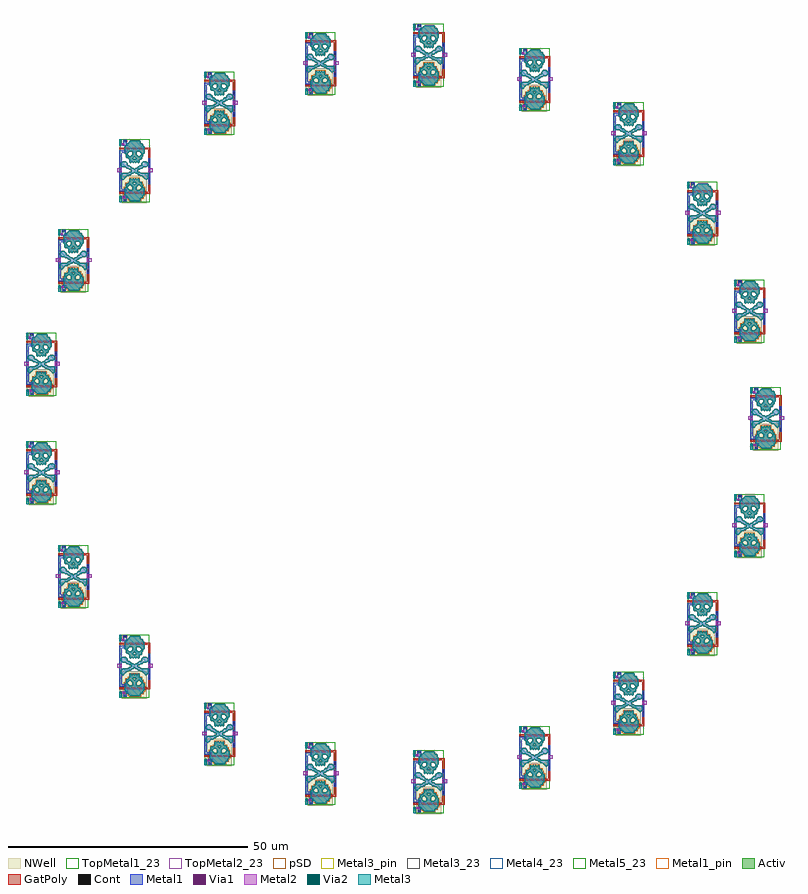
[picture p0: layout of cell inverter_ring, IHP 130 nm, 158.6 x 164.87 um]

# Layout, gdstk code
import gdstk
lib = gdstk.Library(unit=1e-6, precision=1e-09)
def R(c, l, rs):  # rectangles x0, y0, x1, y1
    for r in rs: c.add(gdstk.rectangle(r[:2], r[2:], *l))
def A(c, l, x, y, w, h, nx, ny, dx, dy):  # array of equal rectangles
    R(c, l, [(x+i*dx, y+j*dy, x+i*dx+w, y+j*dy+h) for i in range(nx) for j in range(ny)])
Activ = (1, 0)
GatPoly = (5, 0)
Cont = (6, 0)
Metal1 = (8, 0)
Metal1_pin = (8, 2)
Metal2 = (10, 0)
pSD = (14, 0)
Via1 = (19, 0)
Via2 = (29, 0)
Metal3 = (30, 0)
Metal3_pin = (30, 2)
Metal3_23 = (30, 23)
NWell = (31, 0)
Metal4_23 = (50, 23)
Metal5_23 = (67, 23)
TopMetal1_23 = (126, 23)
TopMetal2_23 = (134, 23)

skullfet_inverter = lib.new_cell('skullfet_inverter')
A(skullfet_inverter, Activ, -1.045, -1.78, 0.27, 0.27, 4, 2, 0.54, 3.51)
R(skullfet_inverter, Activ, [(-2.425,-6.3,-1.725,-5.85), (-1.045,-6.1,1.115,-5.83), (-1.315,-5.83,1.115,-5.56), (-1.855,-5.56,1.655,-5.02), (-2.125,-5.02,1.925,-3.94), (-2.125,-3.94,-1.315,-3.67), (-0.505,-3.94,0.305,-3.13), (1.115,-3.94,1.925,-3.67), (-2.125,-3.67,-1.585,-3.4), (1.385,-3.67,1.925,-3.4), (-1.855,-3.4,-1.585,-3.13), (1.385,-3.4,1.655,-3.13), (-1.855,-3.13,-1.315,-2.86), (-0.775,-3.13,0.575,-2.86), (1.115,-3.13,1.655,-2.86), (-1.855,-2.86,-0.235,-2.59), (0.035,-2.86,1.385,-2.59), (-1.315,-2.59,-0.505,-2.32), (0.305,-2.59,1.385,-2.32), (-1.045,-2.32,0.845,-1.78), (-1.045,2,0.845,2.54), (-1.315,2.54,-0.505,2.81), (0.305,2.54,1.385,2.81), (-1.855,2.81,-0.235,3.08), (0.035,2.81,1.385,3.08), (-1.855,3.08,-1.315,3.35), (-0.775,3.08,0.575,3.35), (1.115,3.08,1.655,3.35), (-1.855,3.35,-1.585,3.62), (-0.505,3.35,0.305,4.16), (1.385,3.35,1.655,3.62), (-2.125,3.62,-1.585,3.89), (1.385,3.62,1.925,3.89), (-2.125,3.89,-1.315,4.16), (1.115,3.89,1.925,4.16), (-2.125,4.16,1.925,5.24), (-1.855,5.24,1.655,5.78), (-1.315,5.78,1.115,6.05), (-2.475,6.05,-1.675,6.55), (-1.045,6.05,1.115,6.32)])
R(skullfet_inverter, GatPoly, [(-3.275,-4.7,3.225,-4.3), (2.725,-4.3,3.225,4.56), (-3.275,4.56,3.225,4.96)])
R(skullfet_inverter, Cont, [(-2.155,-6.155,-1.995,-5.995), (-1.755,-5.43,-1.595,-5.27), (-2.005,-4.03,-1.845,-3.87), (2.895,-2.4,3.055,-2.24), (2.895,-2.06,3.055,-1.9), (2.895,2,3.055,2.16), (2.895,2.34,3.055,2.5), (-2.055,4.07,-1.895,4.23), (-1.755,5.47,-1.595,5.63), (-2.325,6.22,-2.165,6.38), (-1.985,6.22,-1.825,6.38)])
R(skullfet_inverter, Metal1, [(-2.425,-6.3,-1.725,-5.6), (-2.425,-5.6,-1.475,-5.1), (-3.275,-4.2,-1.675,-3.7), (-3.275,-3.7,-2.775,3.9), (2.725,-2.7,3.225,2.7), (-3.275,3.9,-1.775,4.4), (-2.675,5.3,-1.475,5.8), (-2.475,5.8,-1.675,6.55)])
R(skullfet_inverter, Metal1_pin, [(-3.275,-0.2,-2.775,0.6), (2.725,-0.2,3.225,0.6)])
A(skullfet_inverter, Metal2, -1.045, -1.78, 0.27, 0.27, 4, 2, 0.54, 3.51)
R(skullfet_inverter, Metal2, [(-1.045,-6.1,1.115,-5.83), (-1.315,-5.83,1.115,-5.56), (-3.275,-5.75,-2.775,-5.6), (-3.275,-5.6,-2.065,-5.26), (-1.855,-5.56,1.655,-5.02), (-2.125,-5.02,1.925,-3.94), (-2.125,-3.94,-1.315,-3.67), (-0.505,-3.94,0.305,-3.13), (1.115,-3.94,1.925,-3.67), (-2.125,-3.67,-1.585,-3.4), (1.385,-3.67,1.925,-3.4), (-1.855,-3.4,-1.585,-3.13), (1.385,-3.4,1.655,-3.13), (-1.855,-3.13,-1.315,-2.86), (-0.775,-3.13,0.575,-2.86), (1.115,-3.13,1.655,-2.86), (-1.855,-2.86,-0.235,-2.59), (0.035,-2.86,1.385,-2.59), (-1.315,-2.59,-0.505,-2.32), (0.305,-2.59,1.385,-2.32), (-1.045,-2.32,0.845,-1.78), (-2.665,-1.78,-2.395,-1.51), (2.195,-1.78,2.465,-1.51), (-2.935,-1.51,-2.125,-1.24), (1.925,-1.51,2.735,-1.24), (-2.935,-1.24,-1.855,-0.97), (1.655,-1.24,2.735,-0.97), (-2.935,-0.97,-1.315,-0.7), (1.115,-0.97,2.735,-0.7), (-2.665,-0.7,-0.775,-0.43), (0.575,-0.7,2.735,-0.43), (-1.315,-0.43,-0.235,-0.16), (0.035,-0.43,1.115,-0.16), (-3.725,-0.205,-2.775,0.6), (2.725,-0.2,3.725,0.6), (-0.775,-0.16,0.575,0.38), (-1.315,0.38,-0.235,0.65), (0.035,0.38,1.115,0.65), (-1.855,0.65,-0.775,0.92), (0.575,0.65,1.655,0.92), (-2.665,0.92,-1.045,1.19), (0.845,0.92,2.465,1.19), (-2.935,1.19,-1.585,1.73), (1.385,1.19,2.735,1.73), (-2.665,1.73,-1.855,2), (1.655,1.73,2.465,2), (-1.045,2,0.845,2.54), (-1.315,2.54,-0.505,2.81), (0.305,2.54,1.385,2.81), (-1.855,2.81,-0.235,3.08), (0.035,2.81,1.385,3.08), (-1.855,3.08,-1.315,3.35), (-0.775,3.08,0.575,3.35), (1.115,3.08,1.655,3.35), (-1.855,3.35,-1.585,3.62), (-0.505,3.35,0.305,4.16), (1.385,3.35,1.655,3.62), (-2.125,3.62,-1.585,3.89), (1.385,3.62,1.925,3.89), (-2.125,3.89,-1.315,4.16), (1.115,3.89,1.925,4.16), (-2.125,4.16,1.925,5.24), (-1.855,5.24,1.655,5.78), (-3.275,5.41,-2.275,5.8), (-1.315,5.78,1.115,6.05), (-3.275,5.8,-2.875,5.9), (-1.045,6.05,1.115,6.32)])
R(skullfet_inverter, pSD, [(-1.225,-6.28,1.295,-6.01), (-1.495,-6.01,1.295,-5.74), (-2.035,-5.74,1.835,-5.2), (-2.305,-5.2,2.105,-5), (-2.425,-5,2.225,-4), (-2.305,-4,2.105,-3.22), (-2.035,-3.22,1.835,-2.68), (-2.035,-2.68,1.565,-2.41), (-1.495,-2.41,1.565,-2.14), (-1.225,-2.14,1.025,-1.33), (-2.505,6.02,-1.645,6.58)])
R(skullfet_inverter, Via1, [(-2.335,-5.52,-2.145,-5.33), (-3.12,-0.1,-2.93,0.09), (2.88,-0.1,3.07,0.09), (-3.12,0.31,-2.93,0.5), (2.88,0.31,3.07,0.5), (-2.545,5.48,-2.355,5.67)])
R(skullfet_inverter, Via2, [(-3.12,-5.57,-2.93,-5.38), (-3.17,5.53,-2.98,5.72)])
A(skullfet_inverter, Metal3, -1.045, -1.78, 0.27, 0.27, 4, 2, 0.54, 3.51)
R(skullfet_inverter, Metal3, [(-3.275,-6.45,-2.775,-5.2), (-1.045,-6.1,1.115,-5.83), (-1.315,-5.83,1.115,-5.56), (-1.855,-5.56,1.655,-5.02), (-2.125,-5.02,1.925,-3.94), (-2.125,-3.94,-1.315,-3.67), (-0.505,-3.94,0.305,-3.13), (1.115,-3.94,1.925,-3.67), (-2.125,-3.67,-1.585,-3.4), (1.385,-3.67,1.925,-3.4), (-1.855,-3.4,-1.585,-3.13), (1.385,-3.4,1.655,-3.13), (-1.855,-3.13,-1.315,-2.86), (-0.775,-3.13,0.575,-2.86), (1.115,-3.13,1.655,-2.86), (-1.855,-2.86,-0.235,-2.59), (0.035,-2.86,1.385,-2.59), (-1.315,-2.59,-0.505,-2.32), (0.305,-2.59,1.385,-2.32), (-1.045,-2.32,0.845,-1.78), (-2.665,-1.78,-2.395,-1.51), (2.195,-1.78,2.465,-1.51), (-2.935,-1.51,-2.125,-1.24), (1.925,-1.51,2.735,-1.24), (-2.935,-1.24,-1.855,-0.97), (1.655,-1.24,2.735,-0.97), (-2.935,-0.97,-1.315,-0.7), (1.115,-0.97,2.735,-0.7), (-2.665,-0.7,-0.775,-0.43), (0.575,-0.7,2.735,-0.43), (-1.315,-0.43,-0.235,-0.16), (0.035,-0.43,1.115,-0.16), (-0.775,-0.16,0.575,0.38), (-1.315,0.38,-0.235,0.65), (0.035,0.38,1.115,0.65), (-1.855,0.65,-0.775,0.92), (0.575,0.65,1.655,0.92), (-2.665,0.92,-1.045,1.19), (0.845,0.92,2.465,1.19), (-2.935,1.19,-1.585,1.73), (1.385,1.19,2.735,1.73), (-2.665,1.73,-1.855,2), (1.655,1.73,2.465,2), (-1.045,2,0.845,2.54), (-1.315,2.54,-0.505,2.81), (0.305,2.54,1.385,2.81), (-1.855,2.81,-0.235,3.08), (0.035,2.81,1.385,3.08), (-1.855,3.08,-1.315,3.35), (-0.775,3.08,0.575,3.35), (1.115,3.08,1.655,3.35), (-1.855,3.35,-1.585,3.62), (-0.505,3.35,0.305,4.16), (1.385,3.35,1.655,3.62), (-2.125,3.62,-1.585,3.89), (1.385,3.62,1.925,3.89), (-2.125,3.89,-1.315,4.16), (1.115,3.89,1.925,4.16), (-2.125,4.16,1.925,5.24), (-1.855,5.24,1.655,5.78), (-3.275,5.35,-2.875,6.65), (-1.315,5.78,1.115,6.05), (-1.045,6.05,1.115,6.32)])
R(skullfet_inverter, Metal3_pin, [(-3.275,-5.6,-2.775,-5.2), (-3.275,5.35,-2.875,5.8)])
A(skullfet_inverter, Metal3_23, -0.775, -1.78, 0.27, 0.27, 3, 2, 0.54, 3.51)
R(skullfet_inverter, Metal3_23, [(-2.775,-6.45,3.025,-6.1), (-2.775,-6.1,-1.045,-5.83), (1.115,-6.1,3.025,-5.56), (-2.775,-5.83,-1.315,-5.56), (-2.775,-5.56,-1.855,-5.2), (1.655,-5.56,3.025,-5.02), (-3.175,-5.2,-1.855,-5.02), (-3.175,-5.02,-2.125,-3.4), (1.925,-5.02,3.025,-3.4), (-1.315,-3.94,-0.505,-3.67), (0.305,-3.94,1.115,-3.67), (-1.585,-3.67,-0.505,-3.13), (0.305,-3.67,1.385,-3.13), (-3.175,-3.4,-1.855,-2.59), (1.655,-3.4,3.025,-2.86), (-1.315,-3.13,-0.775,-2.86), (0.575,-3.13,1.115,-2.86), (-0.235,-2.86,0.035,-2.59), (1.385,-2.86,3.025,-2.32), (-3.175,-2.59,-1.315,-2.32), (-0.505,-2.59,0.305,-2.32), (-3.175,-2.32,-1.045,-1.78), (0.845,-2.32,3.025,-1.78), (-3.175,-1.78,-2.665,-1.51), (-2.395,-1.78,-1.045,-1.51), (0.845,-1.78,2.195,-1.51), (2.465,-1.78,3.025,-1.51), (-3.175,-1.51,-2.935,-0.7), (-2.125,-1.51,1.925,-1.24), (2.735,-1.51,3.025,-0.43), (-1.855,-1.24,1.655,-0.97), (-1.315,-0.97,1.115,-0.7), (-3.175,-0.7,-2.665,-0.43), (-0.775,-0.7,0.575,-0.43), (-3.175,-0.43,-1.315,-0.16), (-0.235,-0.43,0.035,-0.16), (1.115,-0.43,3.025,-0.16), (-3.175,-0.16,-0.775,0.38), (0.575,-0.16,3.025,0.38), (-3.175,0.38,-1.315,0.65), (-0.235,0.38,0.035,0.65), (1.115,0.38,3.025,0.65), (-3.175,0.65,-1.855,0.92), (-0.775,0.65,0.575,0.92), (1.655,0.65,3.025,0.92), (-3.175,0.92,-2.665,1.19), (-1.045,0.92,0.845,1.19), (2.465,0.92,3.025,1.19), (-3.175,1.19,-2.935,1.73), (-1.585,1.19,1.385,1.73), (2.735,1.19,3.025,1.73), (-3.175,1.73,-2.665,2), (-1.855,1.73,-1.045,2), (0.845,1.73,1.655,2), (2.465,1.73,3.025,2), (-3.175,2,-1.045,2.54), (0.845,2,3.025,2.54), (-3.175,2.54,-1.315,2.81), (-0.505,2.54,0.305,2.81), (1.385,2.54,3.025,3.08), (-3.175,2.81,-1.855,3.62), (-0.235,2.81,0.035,3.08), (-1.315,3.08,-0.775,3.35), (0.575,3.08,1.115,3.35), (1.655,3.08,3.025,3.62), (-1.585,3.35,-0.505,3.89), (0.305,3.35,1.385,3.89), (-3.175,3.62,-2.125,5.24), (1.925,3.62,3.025,5.24), (-1.315,3.89,-0.505,4.16), (0.305,3.89,1.115,4.16), (-3.175,5.24,-1.855,5.35), (1.655,5.24,3.025,5.78), (-2.875,5.35,-1.855,5.78), (-2.875,5.78,-1.315,6.05), (1.115,5.78,3.025,6.32), (-2.875,6.05,-1.045,6.32), (-2.875,6.32,3.025,6.65)])
R(skullfet_inverter, NWell, [(-2.725,-6.65,2.475,-0.95)])
R(skullfet_inverter, Metal4_23, [(-3.175,-6.45,3.025,6.65)])
R(skullfet_inverter, Metal5_23, [(-3.175,-6.45,3.025,6.65)])
R(skullfet_inverter, TopMetal1_23, [(-3.175,-6.45,3.025,6.65)])
R(skullfet_inverter, TopMetal2_23, [(-3.175,-6.45,3.025,6.65)])
skullfet_inverter.add(gdstk.Label('A', (2.975,0.2), layer=8, texttype=25))
skullfet_inverter.add(gdstk.Label('Y', (-3.025,0.2), layer=8, texttype=25))
skullfet_inverter.add(gdstk.Label('VDPWR', (-3.025,-5.4), layer=30, texttype=25))
skullfet_inverter.add(gdstk.Label('VGND', (-3.075,5.575), layer=30, texttype=25))

inverter_ring = lib.new_cell('inverter_ring')
inverter_ring.add(gdstk.Reference(skullfet_inverter, (5.675,-75.785)))
inverter_ring.add(gdstk.Reference(skullfet_inverter, (-16.915,-74.095)))
inverter_ring.add(gdstk.Reference(skullfet_inverter, (27.765,-70.745)))
inverter_ring.add(gdstk.Reference(skullfet_inverter, (-38,-65.82)))
inverter_ring.add(gdstk.Reference(skullfet_inverter, (47.385,-59.42)))
inverter_ring.add(gdstk.Reference(skullfet_inverter, (-55.715,-51.695)))
inverter_ring.add(gdstk.Reference(skullfet_inverter, (62.795,-42.81)))
inverter_ring.add(gdstk.Reference(skullfet_inverter, (-68.475,-32.975)))
inverter_ring.add(gdstk.Reference(skullfet_inverter, (72.625,-22.4)))
inverter_ring.add(gdstk.Reference(skullfet_inverter, (-75.15,-11.32)))
inverter_ring.add(gdstk.Reference(skullfet_inverter, (76,0)))
inverter_ring.add(gdstk.Reference(skullfet_inverter, (-75.15,11.325)))
inverter_ring.add(gdstk.Reference(skullfet_inverter, (72.625,22.4)))
inverter_ring.add(gdstk.Reference(skullfet_inverter, (-68.475,32.975)))
inverter_ring.add(gdstk.Reference(skullfet_inverter, (62.795,42.81)))
inverter_ring.add(gdstk.Reference(skullfet_inverter, (-55.71,51.695)))
inverter_ring.add(gdstk.Reference(skullfet_inverter, (47.385,59.42)))
inverter_ring.add(gdstk.Reference(skullfet_inverter, (-38,65.82)))
inverter_ring.add(gdstk.Reference(skullfet_inverter, (27.765,70.745)))
inverter_ring.add(gdstk.Reference(skullfet_inverter, (-16.91,74.095)))
inverter_ring.add(gdstk.Reference(skullfet_inverter, (5.68,75.785)))

lib.write_gds('inverter_ring.gds')
